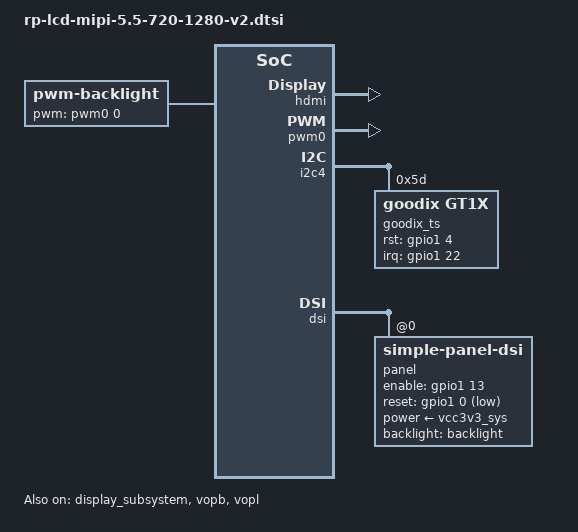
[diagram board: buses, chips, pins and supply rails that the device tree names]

/ {
	
	backlight: backlight {
		status = "okay";
		compatible = "pwm-backlight";
		pwms = <&pwm0 0 25000 0>;
		brightness-levels = <
			  0   1   2   3   4   5   6   7
			  8   9  10  11  12  13  14  15
			 16  17  18  19  20  21  22  23
			 24  25  26  27  28  29  30  31
			 32  33  34  35  36  37  38  39
			 40  41  42  43  44  45  46  47
			 48  49  50  51  52  53  54  55
			 56  57  58  59  60  61  62  63
			 64  65  66  67  68  69  70  71
			 72  73  74  75  76  77  78  79
			 80  81  82  83  84  85  86  87
			 88  89  90  91  92  93  94  95
			 96  97  98  99 100 101 102 103
			104 105 106 107 108 109 110 111
			112 113 114 115 116 117 118 119
			120 121 122 123 124 125 126 127
			128 129 130 131 132 133 134 135
			136 137 138 139 140 141 142 143
			144 145 146 147 148 149 150 151
			152 153 154 155 156 157 158 159
			160 161 162 163 164 165 166 167
			168 169 170 171 172 173 174 175
			176 177 178 179 180 181 182 183
			184 185 186 187 188 189 190 191
			192 193 194 195 196 197 198 199
			200 201 202 203 204 205 206 207
			208 209 210 211 212 213 214 215
			216 217 218 219 220 221 222 223
			224 225 226 227 228 229 230 231
			232 233 234 235 236 237 238 239
			240 241 242 243 244 245 246 247
			248 249 250 251 252 253 254 255>;
		default-brightness-level = <255>;
	};

	//bill  
        rpdzkj_config {
                compatible = "rp_config";
                user_version = "rpdzkj";
                system_rotate = "0";
                back_camera_rotate = "0";
                front_camera_rotate = "0";
                lcd_density = "240";
                language = "zh-CN";   //zh-CN //en-US
                time_zone = "Asia/Shanghai"; //Asia/Shanghai = +8   //Europe/London  = +1	//Africa/Casablanca	= +0;
                not_navigation_bar = "false";
                not_status_bar = "false";
                default_launcher = "true";
                has_root = "true";  //true//false
                usb_not_permission = "true";  
                usb_camera_only_front = "false";
                gps_use = "false";
                gps_serial_port = "/dev/ttyS5"; //UART4
                status = "okay";
        };
};


&hdmi {
	#address-cells = <1>;
	#size-cells = <0>;
	#sound-dai-cells = <0>;
	ddc-i2c-scl-high-time-ns = <9625>;
	ddc-i2c-scl-low-time-ns = <10000>;
	status = "okay";
};

&pwm0 {
	status = "okay";
};

&i2c4 {
        status = "okay";
		goodix_ts@5d {
                compatible = "goodix,gt1x";
                reg = <0x5d>;
                goodix,rst-gpio = <&gpio1 4 GPIO_ACTIVE_HIGH>;
                goodix,irq-gpio = <&gpio1 22 IRQ_TYPE_EDGE_FALLING>;
				
	};
};

&display_subsystem {
	status = "okay";

	ports = <&vopb_out>, <&vopl_out>;
	logo-memory-region = <&drm_logo>;

	route {
		route_hdmi: route-hdmi {
			status = "okay";
			logo,uboot = "logo.bmp";
			logo,kernel = "logo_kernel.bmp";
			logo,mode = "fullscreen";
			charge_logo,mode = "center";
			connect = <&vopl_out_hdmi>;
		};

		route_dsi: route-dsi {

			status = "okay";
			logo,uboot = "logo.bmp";
			logo,kernel = "logo_kernel.bmp";
			logo,mode = "fullscreen";
			charge_logo,mode = "center";
			connect = <&vopb_out_dsi>;
		};

		route_dsi1: route-dsi1 {
			status = "disabled";
			logo,uboot = "logo.bmp";
			logo,kernel = "logo_kernel.bmp";
			logo,mode = "fullscreen";
			charge_logo,mode = "center";
			connect = <&vopl_out_dsi1>;
		};

		route_edp: route-edp {
			status = "disabled";
			logo,uboot = "logo.bmp";
			logo,kernel = "logo_kernel.bmp";
			logo,mode = "fullscreen";
			charge_logo,mode = "center";
			connect = <&vopb_out_edp>;
		};
	};
};

&dsi {
        status = "okay";
	rockchip,lane-rate = <480>;

        panel {
                compatible ="simple-panel-dsi";
                status = "okay";
                reg = <0>;
		power-supply = <&vcc3v3_sys>;
                backlight = <&backlight>;
		cmd_later_reset = <0>;
                enable-gpios = <&gpio1 13 GPIO_ACTIVE_HIGH>;
		reset-gpios  = <&gpio1 0 GPIO_ACTIVE_LOW>;
                dsi,flags = <(MIPI_DSI_MODE_VIDEO | MIPI_DSI_MODE_VIDEO_BURST |
                                MIPI_DSI_MODE_VIDEO_SYNC_PULSE)>;
                dsi,format = <MIPI_DSI_FMT_RGB888>;
//		bus-format = <MEDIA_BUS_FMT_RGB666_1X24>;
                dsi,lanes = <4>;
                reset-delay-ms = <20>;
		init-delay-ms = <20>;
		enable-delay-ms = <120>;
                prepare-delay-ms = <120>;

					//for king/rp/rd board cannot enable boot logo
                                        pinctrl-names = "default";
                                        pinctrl-0 = <&pwr_en>;
               panel-init-sequence = [
               		39 00 04 B9 F1 12 83
                39 00 1C BA 33 81 05 F9 0E 0E 20 00 00 00 00 00 00 00 44 25 00 91 0A 00 00 02 4F D1 00 00 37
                39 00 05 B8 26 22 20 03
                39 00 04 BF 02 11 00 
                39 00 0B B3 0C 10 0A 50 03 FF 00 00 00 00 
                39 00 0A C0 73 73 50 50 00 00 08 70 00 
                39 00 02 BC 46 
                39 00 02 CC 0B 
                39 00 02 B4 80 
                39 00 04 B2 C8 12 30
                39 00 0F E3 07 07 0B 0B 03 0B 00 00 00 00 FF 00 C0 10
                39 00 0D C1 53 00 1E 1E 77 C1 FF FF AF AF 7F 7F
                39 00 03 B5 07 07
                39 00 03 B6 70 70
                39 00 07 C6 00 00 FF FF 01 FF
                39 00 40 E9 C2 10 05 04 FE 02 81 12 31 45 3F 83 12 91 3B 2A 08 05 00 00 00 00 08 05 00 00 00 00 FF 02 46 02 48 68 88 88 88 80 88 FF 13 57 13 58 78 88 88 88 81 88 00 00 00 00 00 12 B1 3B 00 00 00 00 00 
                39 00 3E EA 00 1A 00 00 00 00 00 00 00 00 00 00 FF 31 75 31 18 78 88 88 88 85 88 FF 20 64 20 08 68 88 88 88 84 88 20 10 00 00 54 00 00 00 00 00 00 00 C0 00 00 0C 00 00 00 00 30 02 A1 00 00 00 00 
                39 00 23 E0 00 05 07 1A 39 3F 33 2C 06 0B 0D 11 13 12 14 10 1A 00 05 07 1A 39 3F 33 2C 06 0B 0D 11 13 12 14 10 1A
                05 ff 01 11
                05 78 01 29

		 ];

               panel-exit-sequence = [
                        05 00 01 28
                        05 78 01 10
                ];

                display-timings {
                        native-mode = <&timing0>;
                        timing0: timing0 {
                                clock-frequency = <60000000>;
                                hactive = <720>;
                                vactive = <1280>;
                                hback-porch = <42>;
                                hfront-porch = <44>;
                                vback-porch = <10>;
                                vfront-porch = <14>;
                                hsync-len = <2>;
                                vsync-len = <2>;
                                hsync-active = <0>;
                                vsync-active = <0>;
                                de-active = <0>;
                                pixelclk-active = <0>;

                        };
                        timing1: timing1 {
                                clock-frequency = <148000000>;
                                hactive = <1920>;
                                vactive = <1080>;
                                hback-porch = <100>;
                                hfront-porch = <160>;
                                vback-porch = <25>;
                                vfront-porch = <10>;
                                hsync-len = <20>;
                                vsync-len = <10>;
                                hsync-active = <0>;
                                vsync-active = <0>;
                                de-active = <0>;
                                pixelclk-active = <1>;
                        };
                };
        };
};

&vopb {
        assigned-clocks = <&cru DCLK_VOP0_DIV>;
        assigned-clock-parents = <&cru PLL_CPLL>;
        //assigned-clock-parents = <&cru PLL_VPLL>;
        status = "okay";
};

&vopb_mmu {
        status = "okay";
};

&vopl {
        assigned-clocks = <&cru DCLK_VOP1_DIV>;
        assigned-clock-parents = <&cru PLL_VPLL>;
        //assigned-clock-parents = <&cru PLL_CPLL>;
        status = "okay";
};

&vopl_mmu {
        status = "okay";
};

&dsi_in_vopl { 
        status = "disabled"; 
}; 
 
&hdmi_in_vopb { 
        status = "disabled"; 
}; 
 
&edp_in_vopb { 
        status = "disabled"; 
}; 
&edp_in_vopl { 
        status = "disabled"; 
}; 

&dsi1_in_vopb { 
        status = "disabled"; 
}; 
&dsi1_in_vopl { 
        status = "disabled"; 
}; 

&pinctrl{
        pwr_5v {
                        pwr_en: pwr-en {
                                rockchip,pins = //<1 13 RK_FUNC_GPIO &pcfg_pull_up>,
                                                <4 30 RK_FUNC_GPIO &pcfg_pull_up>;
                        };
        };
};
